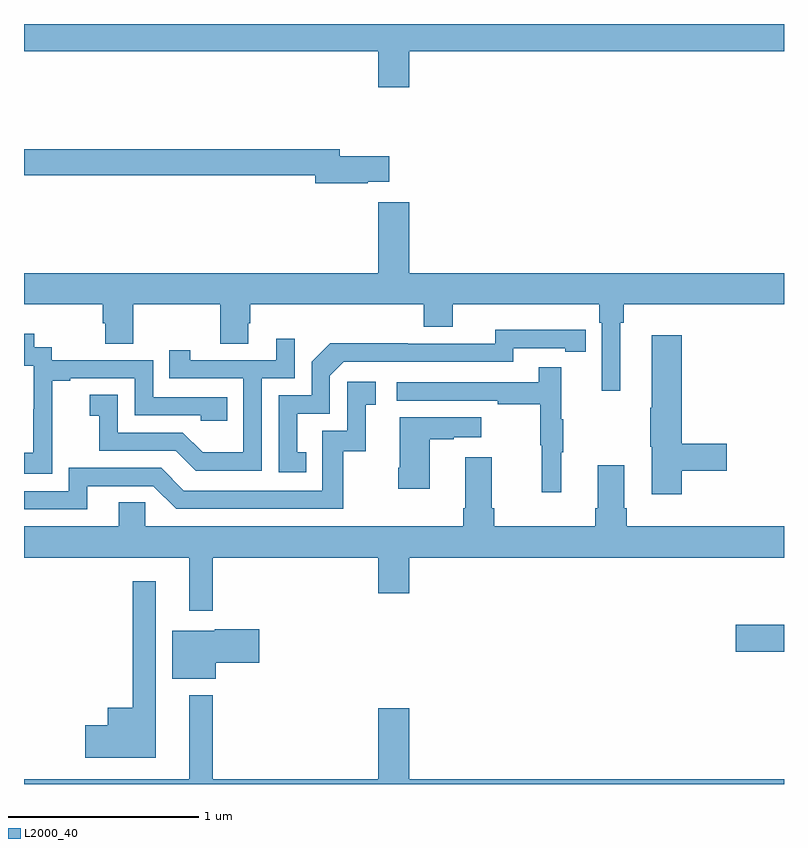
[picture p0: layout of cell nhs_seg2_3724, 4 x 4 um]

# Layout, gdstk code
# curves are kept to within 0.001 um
import gdstk
lib = gdstk.Library(unit=1e-6, precision=1e-09)
def R(c, l, rs):  # rectangles x0, y0, x1, y1
    for r in rs: c.add(gdstk.rectangle(r[:2], r[2:], *l))
def P(c, l, *ps):  # polygons
    for p in ps: c.add(gdstk.Polygon(p, *l))
L2000_40 = (2000, 40)

nhs_seg2_3724 = lib.new_cell('nhs_seg2_3724')
R(nhs_seg2_3724, L2000_40, [(310.746,624.497,311,624.639)])
P(nhs_seg2_3724, L2000_40, [(309.028,627.656),(311,627.656),(311,627.8),(307,627.8),(307,627.656),(308.864,627.656),(308.864,627.468),(309.028,627.468)],
  [(308.81,626.969),(308.923,626.969),(308.923,627.104),(308.662,627.104),(308.662,627.14),(307,627.14),(307,627.004),(308.534,627.004),(308.534,626.962),(308.81,626.962)],
  [(310.138,626.228),(310.157,626.228),(310.157,626.324),(311,626.324),(311,626.488),(309.028,626.488),(309.028,626.863),(308.864,626.863),(308.864,626.488),(307,626.488),(307,626.324),(307.415,626.324),(307.415,626.226),(307.427,626.226),(307.427,626.116),(307.575,626.116),(307.575,626.324),(308.032,626.324),(308.032,626.116),(308.179,626.116),(308.179,626.226),(308.192,626.226),(308.192,626.324),(309.104,626.324),(309.104,626.207),(309.256,626.207),(309.256,626.324),(310.028,626.324),(310.028,626.228),(310.041,626.228),(310.041,625.869),(310.138,625.869)],
  [(308.486,625.545),(308.437,625.545),(308.437,625.749),(308.61,625.749),(308.61,625.95),(308.682,626.022),(309.576,626.022),(309.576,626.094),(309.848,626.094),(309.848,626.074),(309.956,626.074),(309.956,626.19),(309.48,626.191),(309.48,626.118),(309.02,626.118),(309.02,626.12),(308.612,626.12),(308.514,626.022),(308.514,625.845),(308.34,625.845),(308.34,625.44),(308.486,625.44)],
  [(307.149,625.639),(307.148,625.639),(307.148,625.923),(307.243,625.923),(307.243,625.935),(307.584,625.935),(307.584,625.74),(307.929,625.74),(307.929,625.713),(308.069,625.713),(308.069,625.836),(307.68,625.836),(307.68,626.031),(307.146,626.031),(307.146,626.1),(307.054,626.1),(307.054,626.17),(307,626.17),(307,626.001),(307.05,626.001),(307.05,625.772),(307.049,625.772),(307.049,625.543),(307,625.543),(307,625.433),(307.149,625.433)],
  [(310.463,625.45),(310.699,625.45),(310.699,625.592),(310.463,625.592),(310.463,626.161),(310.304,626.161),(310.304,625.781),(310.297,625.781),(310.297,625.575),(310.304,625.575),(310.304,625.326),(310.463,625.326)],
  [(308.25,625.935),(308.424,625.935),(308.424,626.143),(308.327,626.143),(308.327,626.031),(307.876,626.031),(307.876,626.083),(307.765,626.083),(307.765,625.935),(308.154,625.935),(308.154,625.546),(307.94,625.546),(307.836,625.65),(307.494,625.65),(307.494,625.849),(307.347,625.849),(307.347,625.739),(307.396,625.739),(307.396,625.554),(307.799,625.554),(307.904,625.449),(308.25,625.449)],
  [(309.827,625.547),(309.838,625.547),(309.838,625.721),(309.827,625.721),(309.827,625.993),(309.709,625.993),(309.709,625.914),(308.961,625.914),(308.961,625.818),(309.493,625.818),(309.493,625.798),(309.717,625.798),(309.717,625.584),(309.724,625.584),(309.724,625.335),(309.827,625.335)],
  [(307.333,625.368),(307.68,625.368),(307.8,625.248),(308.68,625.248),(308.68,625.551),(308.798,625.551),(308.798,625.797),(308.851,625.797),(308.851,625.918),(308.7,625.918),(308.7,625.659),(308.571,625.659),(308.571,625.344),(307.842,625.344),(307.722,625.464),(307.236,625.464),(307.236,625.341),(307,625.341),(307,625.245),(307.333,625.245)],
  [(309.136,625.615),(309.263,625.615),(309.263,625.625),(309.406,625.625),(309.406,625.729),(308.978,625.729),(308.978,625.465),(308.971,625.465),(308.971,625.353),(309.136,625.353)],
  [(307.993,624.992),(308.864,624.992),(308.864,624.804),(309.028,624.804),(309.028,624.992),(311,624.992),(311,625.156),(310.172,625.156),(310.172,625.252),(310.159,625.252),(310.159,625.477),(310.019,625.477),(310.019,625.252),(310.007,625.252),(310.007,625.156),(309.476,625.156),(309.476,625.252),(309.463,625.252),(309.463,625.519),(309.323,625.519),(309.323,625.252),(309.311,625.252),(309.311,625.156),(307.638,625.156),(307.638,625.283),(307.499,625.283),(307.499,625.156),(307,625.156),(307,624.992),(307.871,624.992),(307.871,624.711),(307.993,624.711)],
  [(307.693,624.868),(307.572,624.868),(307.572,624.202),(307.442,624.202),(307.442,624.11),(307.323,624.11),(307.323,623.939),(307.693,623.939)],
  [(308.008,624.437),(308.239,624.437),(308.239,624.615),(308.004,624.615),(308.004,624.607),(307.781,624.607),(307.781,624.353),(308.008,624.353)],
  [(311,623.824),(309.028,623.824),(309.028,624.199),(308.864,624.199),(308.864,623.824),(307.993,623.824),(307.993,624.268),(307.871,624.268),(307.871,623.824),(307,623.824),(307,623.8),(311,623.8)])

lib.write_gds('nhs_seg2_3724.gds')
